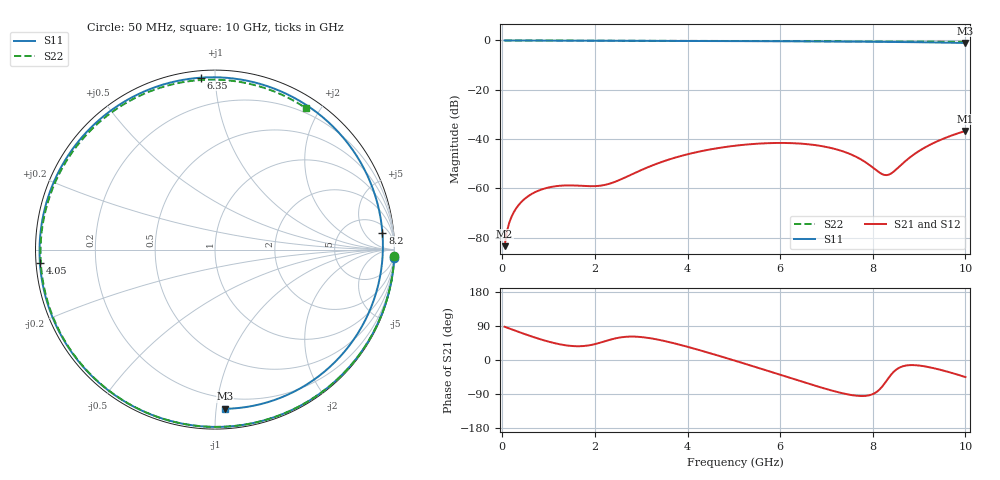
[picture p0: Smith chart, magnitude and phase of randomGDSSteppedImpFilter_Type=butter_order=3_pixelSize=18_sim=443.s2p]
! freq	dB(S11)	phase(S11)	dB(S12)	phase(S12)
!  dB(S21)	phase(S21)	dB(S22)	phase(S22)
!S-par simulation data
#  GHz  S  DB  R 50
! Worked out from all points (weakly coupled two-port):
!   200 points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, 50 MHz to 10 GHz, reference 50 ohm
!   highest |S21| = -36.73 dB at 10 GHz (marker M1); lowest = -83.5 dB at 50 MHz (marker M2)
!   lowest |S11| = -1.0 dB at 10 GHz (marker M3), VSWR 16.98, Z = 6.27 - j52.9 ohm
!   |S11| at or under -10 dB: nowhere
!   |S22| runs from -0.6 to 0.0 dB; largest |S21 - S12| = 0
!   S11 on the Smith chart (normalised r, x): 50 MHz: 0, -44; 4.05 GHz: 0.01, -0.04; 6.35 GHz: 0.04, +0.92; 8.2 GHz: 9, +14; 10 GHz: 0.13, -1.06
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0.05  -0.00 -2.6  -83.49 87.7  -83.49 87.7  -0.00 -2.0
0.25  -0.02 -13.0  -69.64 78.7  -69.64 78.7  -0.01 -9.9
0.6  -0.04 -30.9  -62.69 63.5  -62.69 63.5  -0.03 -23.6
1.2  -0.07 -60.5  -59.04 42.5  -59.04 42.5  -0.06 -46.4
1.75  -0.10 -85.8  -59.04 36.8  -59.04 36.8  -0.08 -66.3
2.15  -0.12 -103.0  -58.86 47.0  -58.86 47.0  -0.10 -80.0
2.5  -0.13 -117.3  -56.88 58.5  -56.88 58.5  -0.11 -91.4
3.4  -0.16 -151.9  -49.59 52.8  -49.59 52.8  -0.14 -118.9
4.05  -0.19 -175.7  -45.96 33.1  -45.96 33.1  -0.16 -137.2
4.55  -0.22 166.0  -44.02 15.6  -44.02 15.6  -0.18 -150.6
5.05  -0.25 147.4  -42.67 -2.7  -42.67 -2.7  -0.21 -163.7
5.75  -0.30 120.0  -41.68 -29.3  -41.68 -29.3  -0.25 178.3
6.35  -0.34 94.7  -41.76 -52.5  -41.76 -52.5  -0.29 162.9
6.7  -0.37 79.1  -42.33 -65.8  -42.33 -65.8  -0.31 153.8
7.4  -0.45 45.9  -45.29 -89.2  -45.29 -89.2  -0.36 135.2
7.8  -0.50 26.0  -48.90 -95.0  -48.90 -95.0  -0.39 124.2
8.2  -0.56 5.7  -54.24 -70.7  -54.24 -70.7  -0.42 112.9
8.35  -0.59 -2.0  -54.44 -45.9  -54.44 -45.9  -0.43 108.6
8.8  -0.68 -25.2  -47.49 -13.5  -47.49 -13.5  -0.46 95.2
9.25  -0.79 -48.2  -42.20 -19.8  -42.20 -19.8  -0.50 81.4
9.65  -0.91 -68.6  -38.94 -32.1  -38.94 -32.1  -0.53 68.6
10  -1.02 -86.4  -36.73 -45.0  -36.73 -45.0  -0.57 57.1
